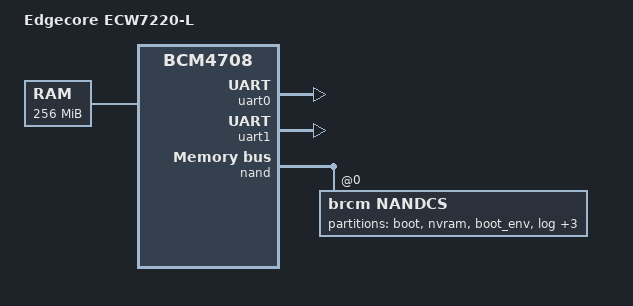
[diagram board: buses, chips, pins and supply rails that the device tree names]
/*
 * Broadcom BCM470X / BCM5301X ARM platform code.
 * DTS for Edgecore ECW7220-L wifi access point
 *
 * Copyright (C) 2017 Abylay Ospan <aospan@netup.ru>
 *
 * Licensed under the GNU/GPL. See COPYING for details.
 */

/dts-v1/;

#include "bcm4708.dtsi"

/ {
	compatible = "edgecore,ecw7220-l", "brcm,bcm4708";
	model = "Edgecore ECW7220-L";

	aliases {
		serial0 = &uart0;
		serial1 = &uart1;
	};

	chosen {
		stdout-path = "serial0:115200n8";
	};

	memory {
		reg = <0x80000000 0x10000000>;
	};
};

&uart0 {
	clock-frequency = <62499840>;
	status = "okay";
};

&uart1 {
	clock-frequency = <62499840>;
	status = "okay";
};

/* TODO: check ECC parameters
 * move to separate file
*/
&nand { 
	nandcs@0 {
		compatible = "brcm,nandcs";
		reg = <0>;
		#address-cells = <1>;
		#size-cells = <1>;

		nand-ecc-algo = "bch";
		nand-ecc-strength = <1>;
		nand-ecc-step-size = <512>;

		partition@0 {
			label = "boot";
			reg = <0x00000000 0x100000>;
			read-only;
		};
		partition@1 {
			label = "nvram";
			reg = <0x00100000 0x00020000>;
		};
		partition@2 {
			label = "boot_env";
			reg = <0x00120000 0x00020000>;
		};
		partition@3 {
			label = "log";
			reg = <0x00140000 0x00040000>;
		};
		partition@4 {
			label = "onie";
			reg = <0x00180000 0x00500000>;
		};

		partition@5 {
			label = "open";
			reg = <0x00680000 0x07980000>;
		};
		partition@6 {
			label = "ubi_rootfs";
			reg = <0x01080000 0x06F80000>;
		};
	};
};
